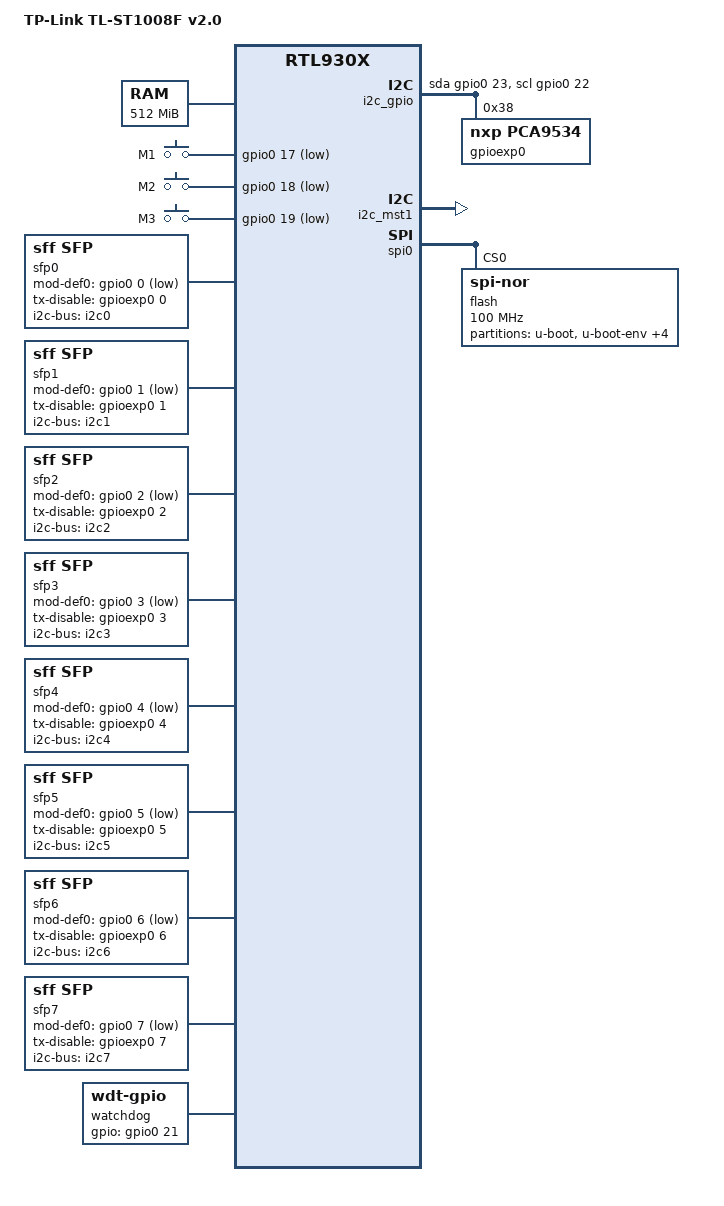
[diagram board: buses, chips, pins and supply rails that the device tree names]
// SPDX-License-Identifier: GPL-2.0-or-later

#include "rtl930x.dtsi"

#include <dt-bindings/input/input.h>
#include <dt-bindings/gpio/gpio.h>
#include <dt-bindings/leds/common.h>

/ {
	compatible = "tplink,tl-st1008f-v2", "realtek,rtl930x-soc";
	model = "TP-Link TL-ST1008F v2.0";

	memory@0 {
		device_type = "memory";
		reg = <0x00000000 0x10000000>, /* first 256 MiB */
		      <0x20000000 0x10000000>; /* remaining 256 MiB */
	};

	chosen {
		stdout-path = "serial0:115200n8";
	};

	keys {
		compatible = "gpio-keys";

		m1 {
			label = "M1";
			gpios = <&gpio0 17 GPIO_ACTIVE_LOW>;
			debounce-interval = <50>;
			linux,code = <BTN_0>;
			linux,input-type = <EV_SW>;
		};

		m2 {
			label = "M2";
			gpios = <&gpio0 18 GPIO_ACTIVE_LOW>;
			debounce-interval = <50>;
			linux,code = <BTN_1>;
			linux,input-type = <EV_SW>;
		};

		m3 {
			label = "M3";
			gpios = <&gpio0 19 GPIO_ACTIVE_LOW>;
			debounce-interval = <50>;
			linux,code = <BTN_2>;
			linux,input-type = <EV_SW>;
		};
	};

	led_set {
		compatible = "realtek,rtl9300-leds";
		active-high;

		led_set0 = <(RTL93XX_LED_SET_1G | RTL93XX_LED_SET_100M | RTL93XX_LED_SET_10M |
			     RTL93XX_LED_SET_LINK | RTL93XX_LED_SET_ACT)
			    (RTL93XX_LED_SET_2P5G | RTL93XX_LED_SET_LINK | RTL93XX_LED_SET_ACT)
			    (RTL93XX_LED_SET_10G | RTL93XX_LED_SET_LINK | RTL93XX_LED_SET_ACT)>;
	};

	i2c_gpio {
		compatible = "i2c-gpio";
		#address-cells = <1>;
		#size-cells = <0>;
		i2c-gpio,delay-us = <2>;
		scl-gpios = <&gpio0 22 (GPIO_ACTIVE_HIGH | GPIO_OPEN_DRAIN)>;
		sda-gpios = <&gpio0 23 (GPIO_ACTIVE_HIGH | GPIO_OPEN_DRAIN)>;

		gpioexp0: i2c@38 {
			reg = <0x38>;
			compatible = "nxp,pca9534";
			gpio-controller;
			#gpio-cells = <2>;
		};
	};

	sfp0: sfp-p1 {
		compatible = "sff,sfp";
		i2c-bus = <&i2c0>;
		mod-def0-gpio = <&gpio0 0 GPIO_ACTIVE_LOW>;
		tx-disable-gpio = <&gpioexp0 0 GPIO_ACTIVE_HIGH>;
		maximum-power-milliwatt = <2900>;
		#thermal-sensor-cells = <0>;
	};

	sfp1: sfp-p2 {
		compatible = "sff,sfp";
		i2c-bus = <&i2c1>;
		mod-def0-gpio = <&gpio0 1 GPIO_ACTIVE_LOW>;
		tx-disable-gpio = <&gpioexp0 1 GPIO_ACTIVE_HIGH>;
		maximum-power-milliwatt = <1500>;
		#thermal-sensor-cells = <0>;
	};

	sfp2: sfp-p3 {
		compatible = "sff,sfp";
		i2c-bus = <&i2c2>;
		mod-def0-gpio = <&gpio0 2 GPIO_ACTIVE_LOW>;
		tx-disable-gpio = <&gpioexp0 2 GPIO_ACTIVE_HIGH>;
		maximum-power-milliwatt = <1500>;
		#thermal-sensor-cells = <0>;
	};

	sfp3: sfp-p4 {
		compatible = "sff,sfp";
		i2c-bus = <&i2c3>;
		mod-def0-gpio = <&gpio0 3 GPIO_ACTIVE_LOW>;
		tx-disable-gpio = <&gpioexp0 3 GPIO_ACTIVE_HIGH>;
		maximum-power-milliwatt = <2000>;
		#thermal-sensor-cells = <0>;
	};

	sfp4: sfp-p5 {
		compatible = "sff,sfp";
		i2c-bus = <&i2c4>;
		mod-def0-gpio = <&gpio0 4 GPIO_ACTIVE_LOW>;
		tx-disable-gpio = <&gpioexp0 4 GPIO_ACTIVE_HIGH>;
		maximum-power-milliwatt = <2000>;
		#thermal-sensor-cells = <0>;
	};

	sfp5: sfp-p6 {
		compatible = "sff,sfp";
		i2c-bus = <&i2c5>;
		mod-def0-gpio = <&gpio0 5 GPIO_ACTIVE_LOW>;
		tx-disable-gpio = <&gpioexp0 5 GPIO_ACTIVE_HIGH>;
		maximum-power-milliwatt = <1500>;
		#thermal-sensor-cells = <0>;
	};

	sfp6: sfp-p7 {
		compatible = "sff,sfp";
		i2c-bus = <&i2c6>;
		mod-def0-gpio = <&gpio0 6 GPIO_ACTIVE_LOW>;
		tx-disable-gpio = <&gpioexp0 6 GPIO_ACTIVE_HIGH>;
		maximum-power-milliwatt = <1500>;
		#thermal-sensor-cells = <0>;
	};

	sfp7: sfp-p8 {
		compatible = "sff,sfp";
		i2c-bus = <&i2c7>;
		mod-def0-gpio = <&gpio0 7 GPIO_ACTIVE_LOW>;
		tx-disable-gpio = <&gpioexp0 7 GPIO_ACTIVE_HIGH>;
		maximum-power-milliwatt = <2900>;
		#thermal-sensor-cells = <0>;
	};

	watchdog {
		compatible = "linux,wdt-gpio";
		gpios = <&gpio0 21 GPIO_ACTIVE_HIGH>;
		hw_algo = "toggle";
		hw_margin_ms = <1200>;
		always-running;
	};
};

&i2c_mst1 {
	status = "okay";

	/* SDA0-7 correspond to GPIO9-16 */
	i2c0: i2c@0 {
		reg = <0>;
	};
	i2c1: i2c@1 {
		reg = <1>;
	};
	i2c2: i2c@2 {
		reg = <2>;
	};
	i2c3: i2c@3 {
		reg = <3>;
	};
	i2c4: i2c@4 {
		reg = <4>;
	};
	i2c5: i2c@5 {
		reg = <5>;
	};
	i2c6: i2c@6 {
		reg = <6>;
	};
	i2c7: i2c@7 {
		reg = <7>;
	};
};

&spi0 {
	status = "okay";

	flash@0 {
		compatible = "jedec,spi-nor";
		reg = <0>;
		spi-max-frequency = <100000000>;

		partitions {
			compatible = "fixed-partitions";
			#address-cells = <1>;
			#size-cells = <1>;

			partition@0 {
				label = "u-boot";
				reg = <0x0 0xe0000>;
				read-only;
			};

			partition@e0000 {
				label = "u-boot-env";
				reg = <0xe0000 0x10000>;
			};

			partition@f0000 {
				label = "u-boot-env2";
				reg = <0xf0000 0x10000>;
				read-only;
			};

			partition@100000 {
				label = "jffs2-cfg";
				reg = <0x100000 0x100000>;
			};

			partition@200000 {
				label = "jffs2-log";
				reg = <0x200000 0x100000>;
			};

			partition@300000 {
				compatible = "openwrt,uimage", "denx,uimage";
				reg = <0x300000 0x1d00000>;
				label = "firmware";
				openwrt,ih-magic = <0x93030000>;
			};
		};
	};
};

&switch0 {
	ethernet-ports {
		#address-cells = <1>;
		#size-cells = <0>;

		SWITCH_PORT_SFP(0, 1, 2, 0, 0)
		SWITCH_PORT_SFP(8, 2, 3, 0, 1)
		SWITCH_PORT_SFP(16, 3, 4, 0, 2)
		SWITCH_PORT_SFP(20, 4, 5, 0, 3)
		SWITCH_PORT_SFP(24, 5, 6, 0, 4)
		SWITCH_PORT_SFP(25, 6, 7, 0, 5)
		SWITCH_PORT_SFP(26, 7, 8, 0, 6)
		SWITCH_PORT_SFP(27, 8, 9, 0, 7)

		port@1c {
			ethernet = <&ethernet0>;
			reg = <28>;
			phy-mode = "internal";

			fixed-link {
				speed = <1000>;
				full-duplex;
			};
		};
	};
};

&thermal_zones {
	sfp-thermal {
		polling-delay-passive = <10000>;
		polling-delay = <10000>;
		thermal-sensors = <&sfp0>, <&sfp1>, <&sfp2>, <&sfp3>, <&sfp4>, <&sfp5>, <&sfp6>, <&sfp7>;
		trips {
			sfp-crit {
				temperature = <110000>;
				hysteresis = <1000>;
				type = "critical";
			};
		};
	};
};
